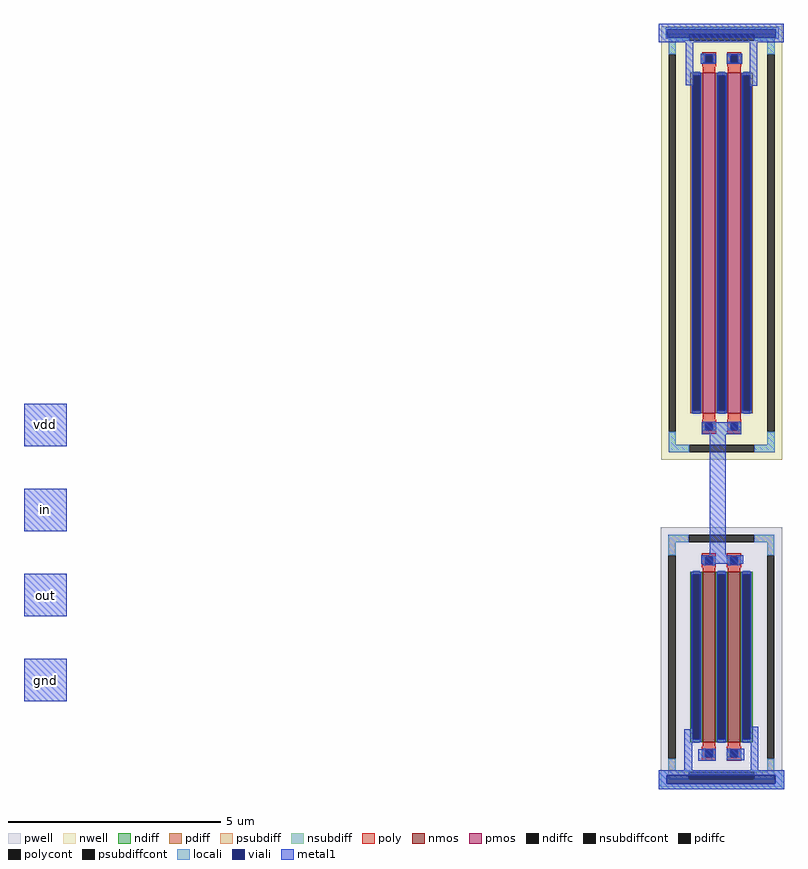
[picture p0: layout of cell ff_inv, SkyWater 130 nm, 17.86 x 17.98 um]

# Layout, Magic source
magic
tech sky130A
magscale 1 2
<< metal1 >>
rect 2984 1898 3570 1984
rect 3110 1696 3146 1898
rect 3410 1694 3446 1898
rect 0 0 200 200
rect 3186 56 3372 112
rect 0 -400 200 -200
rect 3224 -512 3298 56
rect 3182 -552 3380 -512
rect 0 -800 200 -600
rect 0 -1200 200 -1000
rect 3104 -1538 3140 -1330
rect 3170 -1478 3252 -1424
rect 3304 -1476 3386 -1422
rect 3416 -1528 3452 -1320
use sky130_fd_pr__nfet_01v8_RMGWKL  XM1
transform 1 0 3278 0 1 -991
box -285 -610 285 610
use sky130_fd_pr__pfet_01v8_6QZ9WZ  XM2
transform 1 0 3279 0 1 955
box -295 -2567 293 1019
<< labels >>
flabel metal1 0 0 200 200 0 FreeSans 256 0 0 0 vdd
port 0 nsew
flabel metal1 0 -400 200 -200 0 FreeSans 256 0 0 0 in
port 1 nsew
flabel metal1 0 -800 200 -600 0 FreeSans 256 0 0 0 out
port 2 nsew
flabel metal1 0 -1200 200 -1000 0 FreeSans 256 0 0 0 gnd
port 3 nsew
<< end >>

# cell sky130_fd_pr__nfet_01v8_RMGWKL: kit device sky130_fd_pr__nfet_01v8, w 4.0 l 0.3 m 1 nf 2 diffcov 100 polycov 100 guard 1 glc 1 grc 1 gtc 1 gbc 1 tbcov 100 rlcov 100 topc 1 botc 1 poverlap 0 doverlap 1 lmin 0.15 wmin 0.42 compatible {sky130_fd_pr__nfet_01v8 sky130_fd_pr__nfet_01v8_lvt sky130_fd_bs_flash__special_sonosfet_star sky130_fd_pr__nfet_g5v0d10v5 sky130_fd_pr__nfet_05v0_nvt sky130_fd_pr__nfet_03v3_nvt} full_metal 1 viasrc 100 viadrn 100 viagate 100 viagb 0 viagr 0 viagl 0 viagt 0

# cell sky130_fd_pr__pfet_01v8_6QZ9WZ: kit device sky130_fd_pr__pfet_01v8, w 8.0 l 0.3 m 1 nf 2 diffcov 100 polycov 100 guard 1 glc 1 grc 1 gtc 1 gbc 1 tbcov 100 rlcov 100 topc 1 botc 1 poverlap 0 doverlap 1 lmin 0.15 wmin 0.42 compatible {sky130_fd_pr__pfet_01v8 sky130_fd_pr__pfet_01v8_lvt sky130_fd_pr__pfet_01v8_hvt sky130_fd_pr__pfet_g5v0d10v5} full_metal 1 viasrc 100 viadrn 100 viagate 100 viagb 0 viagr 0 viagl 0 viagt 0
